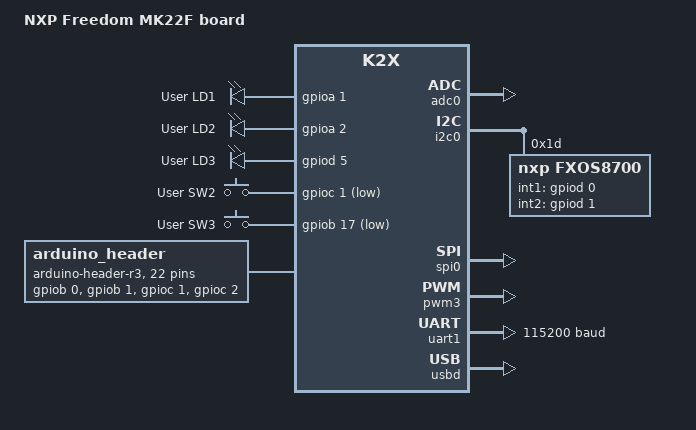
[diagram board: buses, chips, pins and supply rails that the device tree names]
/*
 * Copyright (c) 2018 Prevas A/S
 *
 * SPDX-License-Identifier: Apache-2.0
 */

/dts-v1/;

#include <nxp/nxp_k2x.dtsi>

/ {
	model = "NXP Freedom MK22F board";
	compatible = "nxp,mk22f12", "nxp,k22f", "nxp,k2x";

	aliases {
		adc-0 = &adc0;
		pwm-0 = &pwm0;
		pwm-1 = &pwm1;
		pwm-2 = &pwm2;
		pwm-3 = &pwm3;
		uart-0 = &uart0;
		pinmux-a = &pinmux_a;
		pinmux-b = &pinmux_b;
		pinmux-c = &pinmux_c;
		pinmux-d = &pinmux_d;
		pinmux-e = &pinmux_e;
		gpio-a = &gpioa;
		gpio-b = &gpiob;
		gpio-c = &gpioc;
		gpio-d = &gpiod;
		gpio-e = &gpioe;
		i2c-0 = &i2c0;
		i2c-1 = &i2c1;
		led0 = &green_led;
		led1 = &blue_led;
		led2 = &red_led;
		sw0 = &user_button_3;
		sw1 = &user_button_2;
	};

	chosen {
		zephyr,sram = &sram0;
		zephyr,flash = &flash0;
		zephyr,code-partition = &slot0_partition;
		zephyr,console = &uart1;
		zephyr,shell-uart = &uart1;
		zephyr,uart-pipe = &uart1;
	};

	leds {
		compatible = "gpio-leds";
		red_led: led_0 {
			gpios = <&gpioa 1 0>;
			label = "User LD1";
		};
		green_led: led_1 {
			gpios = <&gpioa 2 0>;
			label = "User LD2";
		};
		blue_led: led_2 {
			gpios = <&gpiod 5 0>;
			label = "User LD3";
		};
	};

	gpio_keys {
		compatible = "gpio-keys";
		user_button_2: button_0 {
			label = "User SW2";
			gpios = <&gpioc 1 GPIO_INT_ACTIVE_LOW>;
		};
		user_button_3: button_1 {
			label = "User SW3";
			gpios = <&gpiob 17 GPIO_INT_ACTIVE_LOW>;
		};
	};

	arduino_header: connector {
		compatible = "arduino-header-r3";
		#gpio-cells = <2>;
		gpio-map-mask = <0xffffffff 0xffffffc0>;
		gpio-map-pass-thru = <0 0x3f>;
		gpio-map = <0 0 &gpiob 0 0>,	/* A0 */
			   <1 0 &gpiob 1 0>,	/* A1 */
			   <2 0 &gpioc 1 0>,	/* A2 */
			   <3 0 &gpioc 2 0>,	/* A3 */
			   <4 0 &gpiob 3 0>,	/* A4 */
			   <5 0 &gpiob 2 0>,	/* A5 */
			   <6 0 &gpiod 2 0>,	/* D0 */
			   <7 0 &gpiod 3 0>,	/* D1 */
			   <8 0 &gpiob 16 0>,	/* D2 */
			   <9 0 &gpioa 2 0>,	/* D3 */
			   <10 0 &gpioa 4 0>,	/* D4 */
			   <11 0 &gpiob 18 0>,	/* D5 */
			   <12 0 &gpioc 3 0>,	/* D6 */
			   <13 0 &gpioc 6 0>,	/* D7 */
			   <14 0 &gpiob 19 0>,	/* D8 */
			   <15 0 &gpioa 1 0>,	/* D9 */
			   <16 0 &gpiod 4 0>,	/* D10 */
			   <17 0 &gpiod 6 0>,	/* D11 */
			   <18 0 &gpiod 7 0>,	/* D12 */
			   <19 0 &gpiod 5 0>,	/* D13 */
			   <20 0 &gpioe 0 0>,	/* D14 */
			   <21 0 &gpioe 1 0>;	/* D15 */
	};
};

&adc0 {
	status = "okay";
};

&i2c0 {
	status = "okay";

	fxos8700@1d {
		compatible = "nxp,fxos8700";
		reg = <0x1d>;
		label = "FXOS8700";
		int1-gpios = <&gpiod 0 0>;
		int2-gpios = <&gpiod 1 0>;
	};
};

arduino_spi: &spi0 {
	status = "okay";
};

&pwm3 {
	status = "okay";
};

&uart1 {
	status = "okay";
	current-speed = <115200>;
};

&usbd {
	compatible = "nxp,kinetis-usbd";
	status = "okay";
	num-bidir-endpoints = <8>;
};

&flash0 {
	/*
	 * For more information, see:
	 * http://docs.zephyrproject.org/latest/devices/dts/flash_partitions.html
	 */
	partitions {
		compatible = "fixed-partitions";
		#address-cells = <1>;
		#size-cells = <1>;

		boot_partition: partition@0 {
			label = "mcuboot";
			reg = <0x00000000 0x00010000>;
			read-only;
		};
		slot0_partition: partition@10000 {
			label = "image-0";
			reg = <0x00010000 0x00020000>;
		};
		slot1_partition: partition@30000 {
			label = "image-1";
			reg = <0x00030000 0x00020000>;
		};
		scratch_partition: partition@50000 {
			label = "image-scratch";
			reg = <0x00050000 0x00010000>;
		};

		/*
		 * The flash starting at 0x00060000 and ending at
		 * 0x0007ffff (sectors 16-31) is reserved for use
		 * by the application.
		 */
		storage_partition: partition@60000 {
			label = "storage";
			reg = <0x00060000 0x00020000>;
		};

	};
};
